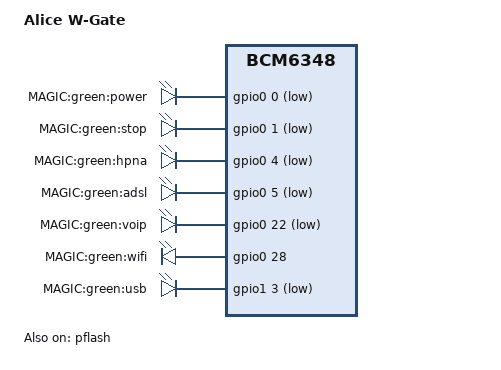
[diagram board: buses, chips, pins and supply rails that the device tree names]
/dts-v1/;

#include "bcm6348.dtsi"

#include <dt-bindings/input/input.h>

/ {
	model = "Alice W-Gate";
	compatible = "telsey,magic", "brcm,bcm6348";

	gpio-leds {
		compatible = "gpio-leds";

		power {
			label = "MAGIC:green:power";
			gpios = <&gpio0 0 1>;
			default-state = "on";
		};

		stop {
			label = "MAGIC:green:stop";
			gpios = <&gpio0 1 1>;
		};

		hpna {
			label = "MAGIC:green:hpna";
			gpios = <&gpio0 4 1>;
		};

		status {
			label = "MAGIC:green:adsl";
			gpios = <&gpio0 5 1>;
		};

		voip {
			label = "MAGIC:green:voip";
			gpios = <&gpio0 22 1>;
		};

		wifi {
			label = "MAGIC:green:wifi";
			gpios = <&gpio0 28 0>;
		};

		usb {
			label = "MAGIC:green:usb";
			gpios = <&gpio1 3 1>;
		};
	};
};

&pflash {
	status = "ok";

	linux,part-probe = "bcm63xxpart";

	cfe@0 {
		label = "CFE";
		reg = <0x000000 0x010000>;
		read-only;
	};

	linux@10000 {
		label = "linux";
		reg = <0x010000 0x3e0000>;
	};

	nvram@3f0000 {
		label = "nvram";
		reg = <0x3f0000 0x010000>;
	};
};
